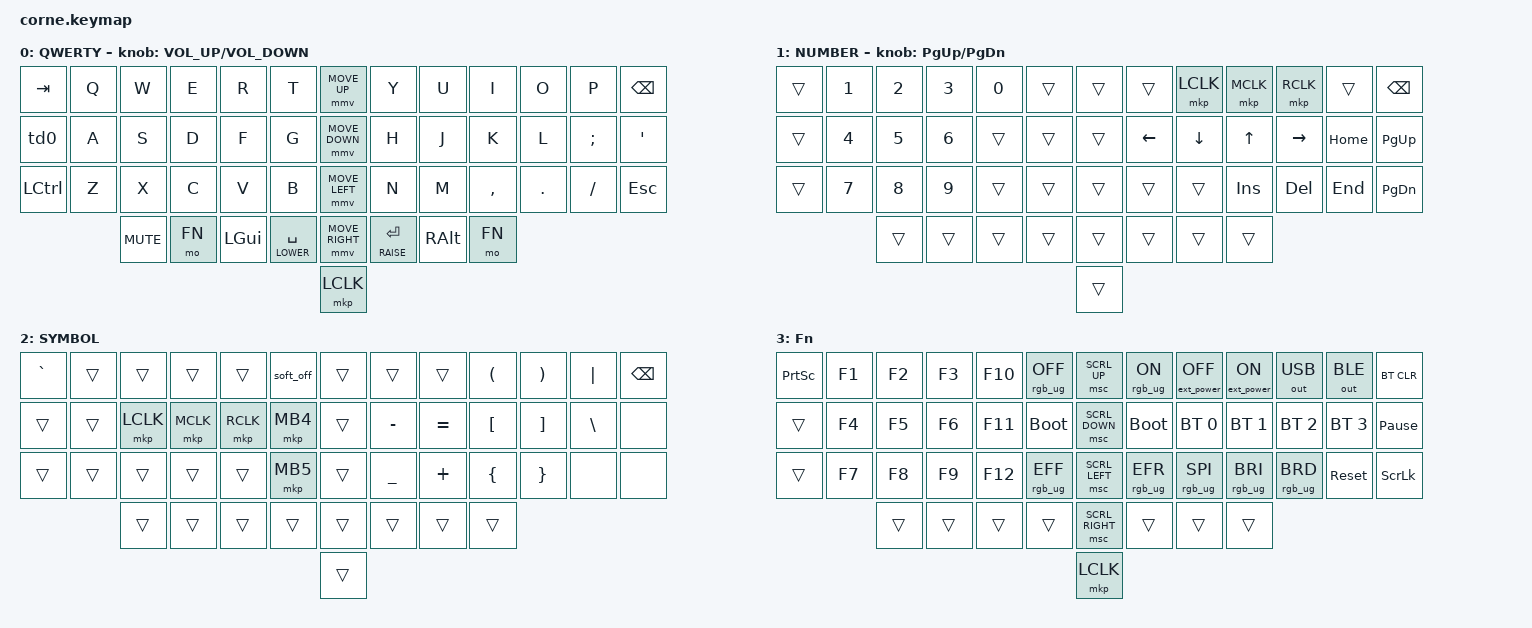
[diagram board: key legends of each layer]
#include <behaviors.dtsi>
#include <dt-bindings/zmk/bt.h>
#include <dt-bindings/zmk/ext_power.h>
#include <dt-bindings/zmk/keys.h>
#include <dt-bindings/zmk/mouse.h>
#include <dt-bindings/zmk/outputs.h>
#include <dt-bindings/zmk/rgb.h>

#define ZMK_MOUSE_DEFAULT_MOVE_VAL 2500  // 600
#define ZMK_MOUSE_DEFAULT_SCRL_VAL 20    // 10
#define U_MS_U &mmv MOVE_UP
#define U_MS_D &mmv MOVE_DOWN
#define U_MS_L &mmv MOVE_LEFT
#define U_MS_R &mmv MOVE_RIGHT
#define U_WH_U &msc SCRL_UP
#define U_WH_D &msc SCRL_DOWN
#define U_WH_L &msc SCRL_LEFT
#define U_WH_R &msc SCRL_RIGHT

#define DEFAULT 0
#define LOWER   1
#define RAISE   2
#define FN      3

/ {
    behaviors {
        td0: td0 {
            compatible = "zmk,behavior-tap-dance";
            label = "TD0";
            #binding-cells = <0>;
            bindings = <&kp LEFT_SHIFT>, <&kp CAPS>;
        };

        mmv {
            acceleration-exponent = <1>;      // 1
            time-to-max-speed-ms = <300>;    // 40
            delay-ms = <0>;                   // 0
        };

        msc {
            acceleration-exponent = <0>;      // 0
            time-to-max-speed-ms = <40>;      // 500
            delay-ms = <0>;                   // 10
        };
    };

    keymap {
        compatible = "zmk,keymap";

        default_layer {
            display-name = "QWERTY";

            // --------------------------------------------------------------------------------
            // |  TAB |  Q  |  W  |  E  |  R  |  T  |   |  Y  |  U   |  I  |  O  |  P  | BKSP |
            // | CTRL |  A  |  S  |  D  |  F  |  G  |   |  H  |  J   |  K  |  L  |  ;  |  '   | 
            // | SHFT |  Z  |  X  |  C  |  V  |  B  |   |  N  |  M   |  ,  |  .  |  /  | ESC  |
            //                    | GUI | LWR | SPC |   | ENT | RSE  | ALT |

            bindings = <
&kp TAB    &kp Q  &kp W      &kp E     &kp R            &kp T           &mmv MOVE_UP      &kp Y            &kp U     &kp I      &kp O    &kp P     &kp BSPC
&td0       &kp A  &kp S      &kp D     &kp F            &kp G           &mmv MOVE_DOWN    &kp H            &kp J     &kp K      &kp L    &kp SEMI  &kp SQT
&kp LCTRL  &kp Z  &kp X      &kp C     &kp V            &kp B           &mmv MOVE_LEFT    &kp N            &kp M     &kp COMMA  &kp DOT  &kp FSLH  &kp ESC
                  &kp C_MUTE &mo FN    &kp LGUI         &lt LOWER SPACE &mmv MOVE_RIGHT   &lt RAISE ENTER  &kp RALT  &mo FN
                                                                        &mkp LCLK        >;

            label = "QWERTY";
            sensor-bindings = <&inc_dec_kp C_VOLUME_UP C_VOLUME_DOWN>;
        };

        lower_layer {
            display-name = "NUMBER";

            // -----------------------------------------------------------------------------------------
            // |  TAB |  1  |  2  |  3  |  4  |  5  |   |  6  |  7  |  8  |  9  |  0  | BKSP |
            // | BTCLR| BT1 | BT2 | BT3 | BT4 | BT5 |   | LFT | DWN |  UP | RGT |     |      |
            // | SHFT |     |     |     |     |     |   |     |     |     |     |     |      |
            //                    | GUI |     | SPC |   | ENT |     | ALT |

            bindings = <
&trans  &kp N1     &kp N2         &kp N3         &kp N0         &trans      &trans       &trans           &mkp LCLK        &mkp MCLK        &mkp RCLK        &trans           &kp BSPC
&trans  &kp N4     &kp N5         &kp N6         &trans         &trans      &trans       &kp LEFT         &kp DOWN         &kp UP           &kp RIGHT        &kp HOME         &kp PG_UP
&trans  &kp N7     &kp N8         &kp N9         &trans         &trans      &trans       &trans           &trans           &kp INS          &kp DEL          &kp END          &kp PG_DN
                   &trans         &trans         &trans         &trans      &trans       &trans           &trans           &trans
                                                                            &trans     
             >;

            label = "NUMBER";
            sensor-bindings = <&inc_dec_kp  PG_UP PG_DN>;
        };

        raise_layer {
            display-name = "SYMBOL";

            // -----------------------------------------------------------------------------------------
            // |  TAB |  !  |  @  |  #  |  $  |  %  |   |  ^  |  &  |  *  |  (  |  )  | BKSP |
            // | CTRL |     |     |     |     |     |   |  -  |  =  |  [  |  ]  |  \  |  `   |
            // | SHFT |     |     |     |     |     |   |  _  |  +  |  {  |  }  | "|" |  ~   |
            //                    | GUI |     | SPC |   | ENT |     | ALT |

            bindings = <
&kp GRAVE       &trans      &trans      &trans       &trans     &soft_off     &trans  &trans        &trans        &kp LPAR        &kp RPAR      &kp PIPE      &kp BSPC
&trans          &trans      &mkp LCLK   &mkp MCLK    &mkp RCLK  &mkp MB4      &trans  &kp MINUS     &kp EQUAL     &kp LBKT        &kp RBKT      &kp BSLH      &none
&trans          &trans      &trans      &trans       &trans     &mkp MB5      &trans  &kp UNDER     &kp PLUS      &kp LBRC        &kp RBRC      &none         &none
                            &trans      &trans       &trans     &trans        &trans  &trans        &trans        &trans
                                                                              &trans
            >;
        };

        layer_3 {
            display-name = "Fn";
            bindings = <
&kp PRINTSCREEN &kp F1           &kp F2          &kp F3       &kp F10    &rgb_ug RGB_OFF    &msc SCRL_UP     &rgb_ug RGB_ON     &ext_power EP_OFF  &ext_power EP_ON  &out OUT_USB      &out OUT_BLE      &bt BT_CLR
&trans          &kp F4           &kp F5          &kp F6       &kp F11    &bootloader        &msc SCRL_DOWN   &bootloader        &bt BT_SEL 0       &bt BT_SEL 1      &bt BT_SEL 2      &bt BT_SEL 3      &kp PAUSE_BREAK
&trans          &kp F7           &kp F8          &kp F9       &kp F12    &rgb_ug RGB_EFF    &msc SCRL_LEFT   &rgb_ug RGB_EFR    &rgb_ug RGB_SPI    &rgb_ug RGB_BRI   &rgb_ug RGB_BRD   &sys_reset        &kp SCROLLLOCK
                                 &trans          &trans       &trans     &trans             &msc SCRL_RIGHT  &trans             &trans             &trans
                                                                                            &mkp LCLK
            >;
        };
    };
};
